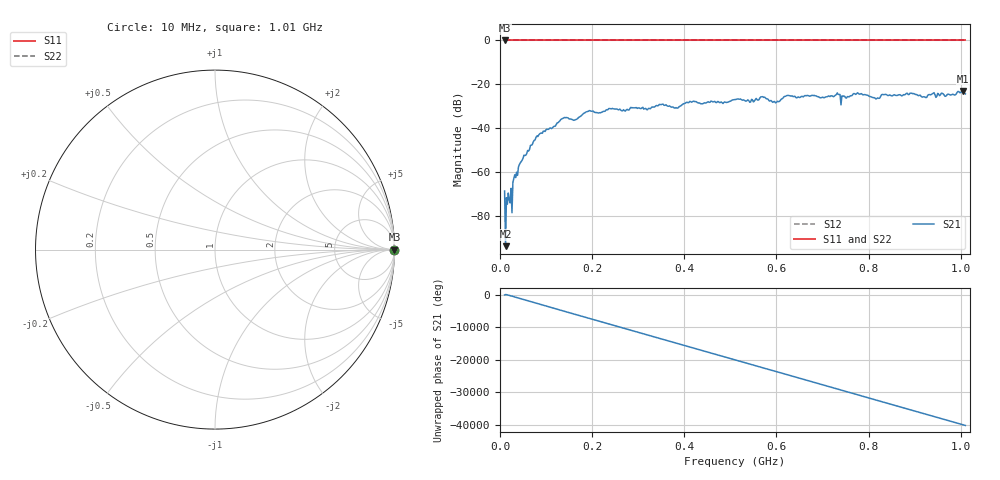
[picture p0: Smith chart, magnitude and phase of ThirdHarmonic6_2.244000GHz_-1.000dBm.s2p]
! 8/17/2025 2:39:04 AM
! C:\ANRITSUVNA\TEMP\TEMP.S2P
! CHANNEL.1
! TR.MEASUREMENT
! RAW.DATA
! RF.CORRECTION.OFF
! AVERAGING.OFF
! IF.BANDWIDTH: 5KHZ
! SWEEPTYPE:  FREQ.SWEEP(Linear)
! Reference Plane Port Info
! PORT:  PORT1  PORT2
! DISTANCE:  0  m  0  m
! TIME:  0  s  0  s
! PHASE.OFFSET:  0  deg.  0  deg.
! LOSS:  0  dB  0  dB
! REF.LOSS:  0  dB  0  dB
! REF.FREQ:  0  Hz  0  Hz
! Power Info
! POWER:  -20  dBm  -20  dBm
! EFF.POWER:  -20  dBm  -20  dBm
! SOURCE.ATTEN:  0  dB  0  dB
! TEST.ATTEN:  0  dB  0  dB
# GHZ S RI R 50.0
! FREQ.GHZ  S11RE  S11IM  S21RE  S21IM  S12RE  S12IM  S22RE  S22IM
!; PortSelection: Port_12
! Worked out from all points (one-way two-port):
!   501 points, 10 MHz to 1.01 GHz, reference 50 ohm
!   highest |S21| = -23.03 dB at 1.004 GHz (marker M1); lowest = -93.8 dB at 12 MHz (marker M2)
!   lowest |S11| = 0.0 dB at 10 MHz (marker M3)
!   |S11| at or under -10 dB: nowhere
!   |S22| runs from 0.0 to 0.0 dB; largest |S21 - S12| = 1.1
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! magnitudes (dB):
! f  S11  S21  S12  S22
! 10 MHz  0.0  -68.7  0.0  0.0
! 12 MHz  0.0  -93.8  0.0  0.0
! 22 MHz  0.0  -74.1  0.0  0.0
! 30 MHz  0.0  -62.9  0.0  0.0
! 32 MHz  0.0  -61.2  0.0  0.0
! 44 MHz  0.0  -55.8  0.0  0.0
! 82 MHz  0.0  -43.8  0.0  0.0
! 136 MHz  0.0  -35.6  0.0  0.0
! 162 MHz  0.0  -36.3  0.0  0.0
! 178 MHz  0.0  -34.0  0.0  0.0
! 344 MHz  0.0  -29.6  0.0  0.0
! 382 MHz  0.0  -30.6  0.0  0.0
! 416 MHz  0.0  -28.2  0.0  0.0
! 510 MHz  0.0  -26.9  0.0  0.0
! 570 MHz  0.0  -25.6  0.0  0.0
! 596 MHz  0.0  -27.8  0.0  0.0
! 622 MHz  0.0  -25.2  0.0  0.0
! 678 MHz  0.0  -25.0  0.0  0.0
! 844 MHz  0.0  -25.0  0.0  0.0
! 922 MHz  0.0  -25.8  0.0  0.0
! 1.004 GHz  0.0  -23.0  0.0  0.0
! 1.01 GHz  0.0  -24.4  0.0  0.0
